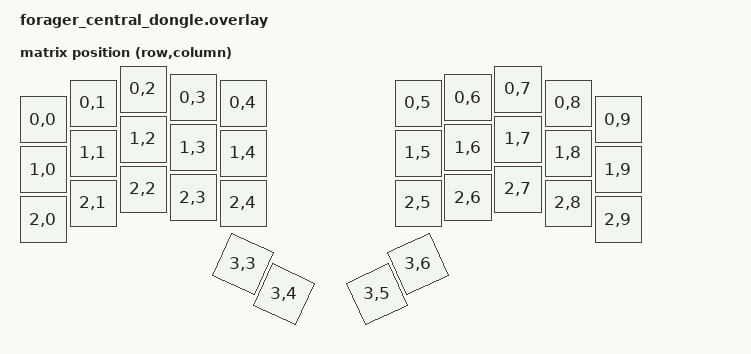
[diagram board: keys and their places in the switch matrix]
#include <dt-bindings/zmk/matrix_transform.h>
#include <physical_layouts.dtsi>

/ {
    chosen {
        zmk,kscan = &mock_kscan;
        zmk,physical-layout = &default_layout;
        zephyr,display = &oled;
    };

    mock_kscan: kscan_0 {
        compatible = "zmk,kscan-mock";
        columns = <0>;
        rows = <0>;
        events = <0>;
    };

    /* Copied from forager-zmk-module's forager.dtsi - needed for ZMK
     * Studio's physical layout, but that file also references
     * &xiao_serial which doesn't exist on this board. */
    default_layout: default_layout {
        compatible = "zmk,physical-layout";
        display-name = "Default Layout";
        transform = <&default_transform>;

        keys  //                     w   h    x    y     rot    rx    ry
            = <&key_physical_attrs 100 100    0   61       0     0     0>
            , <&key_physical_attrs 100 100  100   28       0     0     0>
            , <&key_physical_attrs 100 100  200    0       0     0     0>
            , <&key_physical_attrs 100 100  300   17       0     0     0>
            , <&key_physical_attrs 100 100  400   28       0     0     0>
            , <&key_physical_attrs 100 100  750   28       0     0     0>
            , <&key_physical_attrs 100 100  850   17       0     0     0>
            , <&key_physical_attrs 100 100  950    0       0     0     0>
            , <&key_physical_attrs 100 100 1050   28       0     0     0>
            , <&key_physical_attrs 100 100 1150   61       0     0     0>
            , <&key_physical_attrs 100 100    0  161       0     0     0>
            , <&key_physical_attrs 100 100  100  128       0     0     0>
            , <&key_physical_attrs 100 100  200  100       0     0     0>
            , <&key_physical_attrs 100 100  300  117       0     0     0>
            , <&key_physical_attrs 100 100  400  128       0     0     0>
            , <&key_physical_attrs 100 100  750  128       0     0     0>
            , <&key_physical_attrs 100 100  850  117       0     0     0>
            , <&key_physical_attrs 100 100  950  100       0     0     0>
            , <&key_physical_attrs 100 100 1050  128       0     0     0>
            , <&key_physical_attrs 100 100 1150  161       0     0     0>
            , <&key_physical_attrs 100 100    0  261       0     0     0>
            , <&key_physical_attrs 100 100  100  228       0     0     0>
            , <&key_physical_attrs 100 100  200  200       0     0     0>
            , <&key_physical_attrs 100 100  300  217       0     0     0>
            , <&key_physical_attrs 100 100  400  228       0     0     0>
            , <&key_physical_attrs 100 100  750  228       0     0     0>
            , <&key_physical_attrs 100 100  850  217       0     0     0>
            , <&key_physical_attrs 100 100  950  200       0     0     0>
            , <&key_physical_attrs 100 100 1050  228       0     0     0>
            , <&key_physical_attrs 100 100 1150  261       0     0     0>
            , <&key_physical_attrs 100 100  400  350    2500   450   400>
            , <&key_physical_attrs 100 100  500  370    2500   450   400>
            , <&key_physical_attrs 100 100  650  370  (-2500)  800   400>
            , <&key_physical_attrs 100 100  750  350  (-2500)  800   400>
            ;
    };

    default_transform: keymap_transform_0 {
        compatible = "zmk,matrix-transform";
        columns = <10>;
        rows = <4>;

        map = <
            RC(0,0)         RC(0,1)         RC(0,2)         RC(0,3)         RC(0,4)                                         RC(0,5)         RC(0,6)         RC(0,7)         RC(0,8)         RC(0,9)
            RC(1,0)         RC(1,1)         RC(1,2)         RC(1,3)         RC(1,4)                                         RC(1,5)         RC(1,6)         RC(1,7)         RC(1,8)         RC(1,9)
            RC(2,0)         RC(2,1)         RC(2,2)         RC(2,3)         RC(2,4)                                         RC(2,5)         RC(2,6)         RC(2,7)         RC(2,8)         RC(2,9)
                                                                            RC(3,3)         RC(3,4)         RC(3,5)         RC(3,6)
        >;
    };
};

&pinctrl {
    i2c0_default: i2c0_default {
        group1 {
            psels = <NRF_PSEL(TWIM_SDA, 0, 17)>,
                <NRF_PSEL(TWIM_SCL, 0, 20)>;
        };
    };

    i2c0_sleep: i2c0_sleep {
        group1 {
            psels = <NRF_PSEL(TWIM_SDA, 0, 17)>,
                <NRF_PSEL(TWIM_SCL, 0, 20)>;
            low-power-enable;
        };
    };
};

&i2c0 {
    status = "okay";
    compatible = "nordic,nrf-twi";
    pinctrl-0 = <&i2c0_default>;
    pinctrl-1 = <&i2c0_sleep>;
    pinctrl-names = "default", "sleep";

    oled: sh1106@3c {
        compatible = "sinowealth,sh1106";
        reg = <0x3c>;
        width = <128>;
        height = <64>;
        segment-offset = <2>;
        page-offset = <0>;
        display-offset = <0>;
        multiplex-ratio = <63>;
        segment-remap;
        com-invdir;
        inversion-on;
        prechargep = <0x22>;
    };
};
